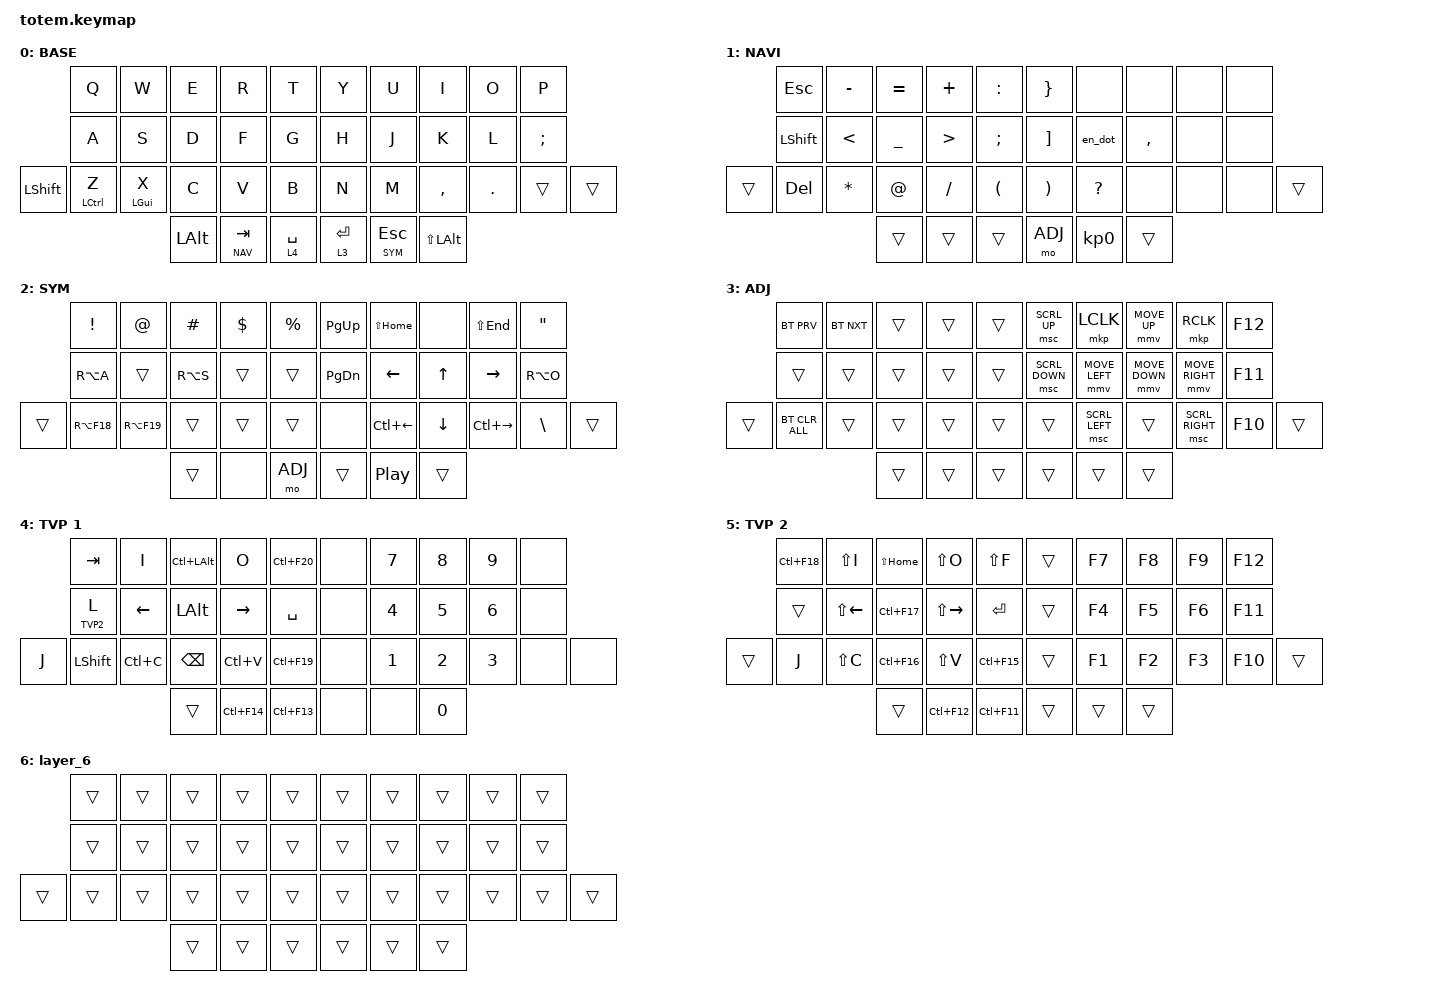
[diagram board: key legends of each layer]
//
//                                                        ▀▀▀▀▀     ▀▀▀▀▀          ▀▀█▀▀
//                                                        ▄▀▀▀▄  ▄  ▄▀▀▀▄  ▄  ▄▀▀▀▄  █  ▄▀▀▀▄
//                                                        █   █  █  █   █  █  █   █  █  █   █
//                                                         ▀▀▀   █   ▀▀▀   █   ▀▀▀   ▀   ▀▀▀
//                                                               █      ▄▄▄█▄▄▄    █   █  
//                                                               ▀      █  █  █     █▄█
//                                                             ▀▀▀▀▀    █  █  █      ▀
//                                                                      ▀  ▀  ▀
//
// ▄▄▄▄▄▄▄▄▄▄▄▄▄▄▄▄▄▄▄▄▄▄▄▄▄▄▄▄▄▄▄▄▄▄▄▄▄▄▄▄▄▄▄▄▄▄▄▄▄▄▄▄▄▄▄▄▄▄▄▄▄▄▄▄▄▄▄▄▄▄▄▄▄▄▄▄▄▄▄▄▄▄▄▄▄▄▄▄▄▄▄▄▄▄▄▄▄▄▄▄▄▄▄▄▄▄▄▄▄▄▄▄▄▄▄▄▄▄▄▄▄▄▄▄▄▄▄▄▄▄▄▄▄▄▄▄▄▄▄▄▄▄▄▄▄▄▄▄▄

#include <behaviors.dtsi>
#include <dt-bindings/zmk/bt.h>
#include <dt-bindings/zmk/keys.h>
#include <dt-bindings/zmk/pointing.h>

#define BASE 0
#define NAV  1
#define SYM  2
#define ADJ  3
#define TVP1 4
#define TVP2 5

&mt {
    quick-tap-ms = <100>;
    global-quick-tap;
    flavor = "tap-preferred";
    tapping-term-ms = <170>;
};

/ {
    combos {
        compatible = "zmk,combos";

        combo_esc {
            timeout-ms = <50>;
            key-positions = <0 1>;
            bindings = <&kp ESC>;
        };
        cmben {
            bindings = <&layer_en>;
            key-positions = <3 4>;
            layers = <1>;
        };

        cmbru {
            bindings = <&layer_ru>;
            key-positions = <3 4>;
            layers = <0>;
        };
        bkspc {
            bindings = <&kp BACKSPACE>;
            key-positions = <17 18>;
        };

        del {
            bindings = <&kp DELETE>;
            key-positions = <28 29>;
        };

        snglq {
            bindings = <&kp SQT>;
            key-positions = <8 9>;
        };

        tab {
            bindings = <&kp TAB>;
            key-positions = <10 11>;
        };

        x {
            bindings = <&kp LEFT_BRACKET>;
            key-positions = <24 25>;
        };

        b {
            bindings = <&kp RIGHT_BRACKET>;
            key-positions = <26 27>;
        };

        enter {
            bindings = <&kp ENTER>;
            key-positions = <16 17>;
        };
    };

    macros {
        en_dot: en_dot {
            compatible = "zmk,behavior-macro";
            #binding-cells = <0>;
            bindings = <&kp LS(LEFT_ALT)>, <&macro_wait_time 25>, <&kp DOT>;

            label = "EN_DOT";
        };
    to_ru: to_ru {
            compatible = "zmk,behavior-macro";
            #binding-cells = <0>;
            bindings = <&kp LS(LC(N2))>;
            label = "TO_RU";
        };

        to_en: to_en {
            compatible = "zmk,behavior-macro";
            #binding-cells = <0>;
            bindings = <&kp LS(LC(N1))>;
            label = "TO_EN";
        };

        layer_en: layer_en {
            compatible = "zmk,behavior-macro";
            #binding-cells = <0>;
            bindings = <&to 0 &to_en>;
            label = "LAYER_EN";
        };

        layer_ru: layer_ru {
            compatible = "zmk,behavior-macro";
            #binding-cells = <0>;
            bindings = <&to 1 &to_ru>;
            label = "LAYER_RU";
        };

        en: en {
            compatible = "zmk,behavior-macro-one-param";
            #binding-cells = <1>;
            bindings =
                <&to_en &macro_param_1to1 &kp MACRO_PLACEHOLDER>,
                <&macro_wait_time 10>,
                <&to_ru>,
                <&macro_wait_time 10>;

            label = "EN";
        };
    };

    keymap {
        compatible = "zmk,keymap";

        // ▄▄▄▄▄▄▄▄▄▄▄▄▄▄▄▄▄▄▄▄▄▄▄▄▄▄▄▄▄▄▄▄▄▄▄▄▄▄▄▄▄▄▄▄▄▄▄▄▄▄▄▄▄▄▄▄▄▄▄▄▄▄▄▄▄▄▄▄▄▄▄▄▄▄▄▄▄▄▄▄▄▄▄▄▄▄▄▄▄▄▄▄▄▄▄▄▄▄▄▄▄▄▄▄▄▄▄▄▄▄▄▄▄▄▄▄▄▄▄▄▄▄▄▄▄▄▄▄▄▄▄▄▄▄▄▄▄▄▄▄▄▄▄▄▄▄▄▄▄

        base_layer {
            // ┏━━━━━━━━━━━━━━━━━━━━━━━━━━━━━━━━━━━━━━━┓

            label = "BASE";

            // ┗━━━━━━━━━━━━━━━━━━━━━━━━━━━━━━━━━━━━━━━┛
            //             ┏━━━━━━━━━━━┳━━━━━━━━━━━┳━━━━━━━━━━━┳━━━━━━━━━━━┳━━━━━━━━━━━┓   ┏━━━━━━━━━━━┳━━━━━━━━━━━┳━━━━━━━━━━━┳━━━━━━━━━━━┳━━━━━━━━━━━┓
            //             ┃     Q     ┃     W     ┃     F     ┃     P     ┃     G     ┃   ┃     J     ┃     L     ┃     U     ┃     Y     ┃     ;     ┃
            //             ┣━━━━━━━━━━━╋━━━━━━━━━━━╋━━━━━━━━━━━╋━━━━━━━━━━━╋━━━━━━━━━━━┫   ┣━━━━━━━━━━━╋━━━━━━━━━━━╋━━━━━━━━━━━╋━━━━━━━━━━━╋━━━━━━━━━━━┫
            //             ┃     A     ┃     R     ┃     S     ┃     T     ┃     D     ┃   ┃     H     ┃     N     ┃     E     ┃     I     ┃     O     ┃
            // ┏━━━━━━━━━━━╋━━━━━━━━━━━╋━━━━━━━━━━━╋━━━━━━━━━━━╋━━━━━━━━━━━╋━━━━━━━━━━━┫   ┣━━━━━━━━━━━╋━━━━━━━━━━━╋━━━━━━━━━━━╋━━━━━━━━━━━╋━━━━━━━━━━━╋━━━━━━━━━━━┓
            // ┃     Q     ┃     Z     ┃     X     ┃     C     ┃     V     ┃     B     ┃   ┃     K     ┃     M     ┃     ,     ┃     .     ┃     /     ┃     \     ┃
            // ┗━━━━━━━━━━━┻━━━━━━━━━━━┻━━━━━━━━━━━╋━━━━━━━━━━━╋━━━━━━━━━━━╋━━━━━━━━━━━┫   ┣━━━━━━━━━━━╋━━━━━━━━━━━╋━━━━━━━━━━━╋━━━━━━━━━━━┻━━━━━━━━━━━┻━━━━━━━━━━━┛
            //                                     ┃    DEL    ┃    TAB    ┃    SPC    ┃   ┃   ENTER   ┃           ┃   BSPC    ┃
            //                                     ┗━━━━━━━━━━━┻━━━━━━━━━━━┻━━━━━━━━━━━┛   ┗━━━━━━━━━━━┻━━━━━━━━━━━┻━━━━━━━━━━━┛

            bindings = <
                &kp Q        &kp W           &kp E         &kp R        &kp T          &kp Y        &kp U        &kp I             &kp O    &kp P
                &kp A        &kp S           &kp D         &kp F        &kp G          &kp H        &kp J        &kp K             &kp L    &kp SEMICOLON
&kp LEFT_SHIFT  &mt LCTRL Z  &mt LEFT_GUI X  &kp C         &kp V        &kp B          &kp N        &kp M        &kp COMMA         &kp DOT  &trans         &trans
                                             &kp LEFT_ALT  &lt NAV TAB  &lt 4 SPACE    &lt 3 ENTER  &lt SYM ESC  &kp LS(LEFT_ALT)
            >;
        };

        // ▄▄▄▄▄▄▄▄▄▄▄▄▄▄▄▄▄▄▄▄▄▄▄▄▄▄▄▄▄▄▄▄▄▄▄▄▄▄▄▄▄▄▄▄▄▄▄▄▄▄▄▄▄▄▄▄▄▄▄▄▄▄▄▄▄▄▄▄▄▄▄▄▄▄▄▄▄▄▄▄▄▄▄▄▄▄▄▄▄▄▄▄▄▄▄▄▄▄▄▄▄▄▄▄▄▄▄▄▄▄▄▄▄▄▄▄▄▄▄▄▄▄▄▄▄▄▄▄▄▄▄▄▄▄▄▄▄▄▄▄▄▄▄▄▄▄▄▄▄

        nav_layer {
            // ┏━━━━━━━━━━━━━━━━━━━━━━━━━━━━━━━━━━━━━━━┓

            label = "NAVI";

            // ┗━━━━━━━━━━━━━━━━━━━━━━━━━━━━━━━━━━━━━━━┛
            //             ┏━━━━━━━━━━━┳━━━━━━━━━━━┳━━━━━━━━━━━┳━━━━━━━━━━━┳━━━━━━━━━━━┓   ┏━━━━━━━━━━━┳━━━━━━━━━━━┳━━━━━━━━━━━┳━━━━━━━━━━━┳━━━━━━━━━━━┓
            //             ┃           ┃           ┃     UP    ┃           ┃     {     ┃   ┃     }     ┃     7     ┃     8     ┃     9     ┃     +     ┃
            //             ┣━━━━━━━━━━━╋━━━━━━━━━━━╋━━━━━━━━━━━╋━━━━━━━━━━━╋━━━━━━━━━━━┫   ┣━━━━━━━━━━━╋━━━━━━━━━━━╋━━━━━━━━━━━╋━━━━━━━━━━━╋━━━━━━━━━━━┫
            //             ┃   SHIFT   ┃   LEFT    ┃    DOWN   ┃   RIGHT   ┃     [     ┃   ┃     ]     ┃     4     ┃     5     ┃     6     ┃     -     ┃
            // ┏━━━━━━━━━━━╋━━━━━━━━━━━╋━━━━━━━━━━━╋━━━━━━━━━━━╋━━━━━━━━━━━╋━━━━━━━━━━━┫   ┣━━━━━━━━━━━╋━━━━━━━━━━━╋━━━━━━━━━━━╋━━━━━━━━━━━╋━━━━━━━━━━━╋━━━━━━━━━━━┓
            // ┃           ┃           ┃   P UP    ┃  C LOCK   ┃  P DOWN   ┃     (     ┃   ┃     )     ┃     1     ┃     2     ┃     3     ┃     *     ┃           ┃
            // ┗━━━━━━━━━━━┻━━━━━━━━━━━┻━━━━━━━━━━━╋━━━━━━━━━━━╋━━━━━━━━━━━╋━━━━━━━━━━━┫   ┣━━━━━━━━━━━╋━━━━━━━━━━━╋━━━━━━━━━━━╋━━━━━━━━━━━┻━━━━━━━━━━━┻━━━━━━━━━━━┛
            //                                     ┃           ┃    TAB    ┃    SPC    ┃   ┃    DEL    ┃     0     ┃           ┃
            //                                     ┗━━━━━━━━━━━┻━━━━━━━━━━━┻━━━━━━━━━━━┛   ┗━━━━━━━━━━━┻━━━━━━━━━━━┻━━━━━━━━━━━┛

            bindings = <
        &kp ESC    &kp MINUS      &kp EQUAL       &kp PLUS          &kp COLON    &kp RBRC  &none         &none      &none  &none
        &kp LSHFT  &kp LESS_THAN  &kp UNDERSCORE  &kp GREATER_THAN  &kp SEMI     &kp RBKT  &en_dot       &kp COMMA  &none  &none
&trans  &kp DEL    &kp ASTRK      &kp AT_SIGN     &kp SLASH         &kp LPAR     &kp RPAR  &kp QUESTION  &none      &none  &none  &trans
                                  &trans          &trans            &trans       &mo ADJ   &kp KP_N0     &trans
            >;
        };

        // ▄▄▄▄▄▄▄▄▄▄▄▄▄▄▄▄▄▄▄▄▄▄▄▄▄▄▄▄▄▄▄▄▄▄▄▄▄▄▄▄▄▄▄▄▄▄▄▄▄▄▄▄▄▄▄▄▄▄▄▄▄▄▄▄▄▄▄▄▄▄▄▄▄▄▄▄▄▄▄▄▄▄▄▄▄▄▄▄▄▄▄▄▄▄▄▄▄▄▄▄▄▄▄▄▄▄▄▄▄▄▄▄▄▄▄▄▄▄▄▄▄▄▄▄▄▄▄▄▄▄▄▄▄▄▄▄▄▄▄▄▄▄▄▄▄▄▄▄▄

        sim_layer {
            // ┏━━━━━━━━━━━━━━━━━━━━━━━━━━━━━━━━━━━━━━━┓

            label = "SYM";

            // ┗━━━━━━━━━━━━━━━━━━━━━━━━━━━━━━━━━━━━━━━┛
            //             ┏━━━━━━━━━━━┳━━━━━━━━━━━┳━━━━━━━━━━━┳━━━━━━━━━━━┳━━━━━━━━━━━┓   ┏━━━━━━━━━━━┳━━━━━━━━━━━┳━━━━━━━━━━━┳━━━━━━━━━━━┳━━━━━━━━━━━┓
            //             ┃     !     ┃     @     ┃     #     ┃     $     ┃     %     ┃   ┃     ˆ     ┃     &     ┃     Ü     ┃     '     ┃     "     ┃
            //             ┣━━━━━━━━━━━╋━━━━━━━━━━━╋━━━━━━━━━━━╋━━━━━━━━━━━╋━━━━━━━━━━━┫   ┣━━━━━━━━━━━╋━━━━━━━━━━━╋━━━━━━━━━━━╋━━━━━━━━━━━╋━━━━━━━━━━━┫
            //             ┃     Ä     ┃           ┃    SZ     ┃           ┃           ┃   ┃   MUTE    ┃   YEN     ┃   EURO    ┃  POUND    ┃     Ö     ┃
            // ┏━━━━━━━━━━━╋━━━━━━━━━━━╋━━━━━━━━━━━╋━━━━━━━━━━━╋━━━━━━━━━━━╋━━━━━━━━━━━┫   ┣━━━━━━━━━━━╋━━━━━━━━━━━╋━━━━━━━━━━━╋━━━━━━━━━━━╋━━━━━━━━━━━╋━━━━━━━━━━━┓
            // ┃           ┃  EMAIL1   ┃  EMAIL2   ┃           ┃           ┃           ┃   ┃   VOL-    ┃   VOL+    ┃   LAST    ┃   NEXT    ┃     \     ┃           ┃
            // ┗━━━━━━━━━━━┻━━━━━━━━━━━┻━━━━━━━━━━━╋━━━━━━━━━━━╋━━━━━━━━━━━╋━━━━━━━━━━━┫   ┣━━━━━━━━━━━╋━━━━━━━━━━━╋━━━━━━━━━━━╋━━━━━━━━━━━┻━━━━━━━━━━━┻━━━━━━━━━━━┛
            //                                     ┃           ┃    GIF    ┃    ADJ    ┃   ┃           ┃           ┃           ┃
            //                                     ┗━━━━━━━━━━━┻━━━━━━━━━━━┻━━━━━━━━━━━┛   ┗━━━━━━━━━━━┻━━━━━━━━━━━┻━━━━━━━━━━━┛

            bindings = <
        &kp EXCL     &kp AT       &kp HASH   &kp DLLR  &kp PRCNT    &kp PG_UP      &kp LS(HOME)  &none     &kp LS(END)    &kp DQT
        &kp RA(A)    &trans       &kp RA(S)  &trans    &trans       &kp PAGE_DOWN  &kp LEFT      &kp UP    &kp RIGHT      &kp RA(O)
&trans  &kp RA(F18)  &kp RA(F19)  &trans     &trans    &trans       &none          &kp LC(LEFT)  &kp DOWN  &kp LC(RIGHT)  &kp BSLH   &trans
                                  &trans     &none     &mo ADJ      &trans         &kp C_PP      &trans
            >;
        };

        // ▄▄▄▄▄▄▄▄▄▄▄▄▄▄▄▄▄▄▄▄▄▄▄▄▄▄▄▄▄▄▄▄▄▄▄▄▄▄▄▄▄▄▄▄▄▄▄▄▄▄▄▄▄▄▄▄▄▄▄▄▄▄▄▄▄▄▄▄▄▄▄▄▄▄▄▄▄▄▄▄▄▄▄▄▄▄▄▄▄▄▄▄▄▄▄▄▄▄▄▄▄▄▄▄▄▄▄▄▄▄▄▄▄▄▄▄▄▄▄▄▄▄▄▄▄▄▄▄▄▄▄▄▄▄▄▄▄▄▄▄▄▄▄▄▄▄▄▄▄

        adjust_layer {
            // ┏━━━━━━━━━━━━━━━━━━━━━━━━━━━━━━━━━━━━━━━┓

            label = "ADJ";

            // ┗━━━━━━━━━━━━━━━━━━━━━━━━━━━━━━━━━━━━━━━┛
            //             ┏━━━━━━━━━━━┳━━━━━━━━━━━┳━━━━━━━━━━━┳━━━━━━━━━━━┳━━━━━━━━━━━┓   ┏━━━━━━━━━━━┳━━━━━━━━━━━┳━━━━━━━━━━━┳━━━━━━━━━━━┳━━━━━━━━━━━┓
            //             ┃   RESET   ┃ BT CLEAR  ┃  OUT TOG  ┃           ┃           ┃   ┃           ┃    F7     ┃    F8     ┃    F9     ┃    F12    ┃
            //             ┣━━━━━━━━━━━╋━━━━━━━━━━━╋━━━━━━━━━━━╋━━━━━━━━━━━╋━━━━━━━━━━━┫   ┣━━━━━━━━━━━╋━━━━━━━━━━━╋━━━━━━━━━━━╋━━━━━━━━━━━╋━━━━━━━━━━━┫
            //             ┃ BOOTLOAD  ┃ BT NEXT   ┃           ┃           ┃           ┃   ┃           ┃    F4     ┃    F5     ┃    F6     ┃    F11    ┃
            // ┏━━━━━━━━━━━╋━━━━━━━━━━━╋━━━━━━━━━━━╋━━━━━━━━━━━╋━━━━━━━━━━━╋━━━━━━━━━━━┫   ┣━━━━━━━━━━━╋━━━━━━━━━━━╋━━━━━━━━━━━╋━━━━━━━━━━━╋━━━━━━━━━━━╋━━━━━━━━━━━┓
            // ┃           ┃           ┃ BT PREV   ┃           ┃           ┃           ┃   ┃           ┃    F1     ┃    F2     ┃    F3     ┃    F10    ┃           ┃
            // ┗━━━━━━━━━━━┻━━━━━━━━━━━┻━━━━━━━━━━━╋━━━━━━━━━━━╋━━━━━━━━━━━╋━━━━━━━━━━━┫   ┣━━━━━━━━━━━╋━━━━━━━━━━━╋━━━━━━━━━━━╋━━━━━━━━━━━┻━━━━━━━━━━━┻━━━━━━━━━━━┛
            //                                     ┃           ┃           ┃           ┃   ┃           ┃           ┃           ┃
            //                                     ┗━━━━━━━━━━━┻━━━━━━━━━━━┻━━━━━━━━━━━┛   ┗━━━━━━━━━━━┻━━━━━━━━━━━┻━━━━━━━━━━━┛

            bindings = <
        &bt BT_PRV      &bt BT_NXT  &trans  &trans  &trans    &msc SCRL_UP    &mkp LCLK       &mmv MOVE_UP    &mkp RCLK        &kp F12
        &trans          &trans      &trans  &trans  &trans    &msc SCRL_DOWN  &mmv MOVE_LEFT  &mmv MOVE_DOWN  &mmv MOVE_RIGHT  &kp F11
&trans  &bt BT_CLR_ALL  &trans      &trans  &trans  &trans    &trans          &msc SCRL_LEFT  &trans          &msc SCRL_RIGHT  &kp F10  &trans
                                    &trans  &trans  &trans    &trans          &trans          &trans
            >;
        };

        // ▄▄▄▄▄▄▄▄▄▄▄▄▄▄▄▄▄▄▄▄▄▄▄▄▄▄▄▄▄▄▄▄▄▄▄▄▄▄▄▄▄▄▄▄▄▄▄▄▄▄▄▄▄▄▄▄▄▄▄▄▄▄▄▄▄▄▄▄▄▄▄▄▄▄▄▄▄▄▄▄▄▄▄▄▄▄▄▄▄▄▄▄▄▄▄▄▄▄▄▄▄▄▄▄▄▄▄▄▄▄▄▄▄▄▄▄▄▄▄▄▄▄▄▄▄▄▄▄▄▄▄▄▄▄▄▄▄▄▄▄▄▄▄▄▄▄▄▄▄

        tvp1_layer {
            // ┏━━━━━━━━━━━━━━━━━━━━━━━━━━━━━━━━━━━━━━━┓

            label = "TVP 1";

            // ┗━━━━━━━━━━━━━━━━━━━━━━━━━━━━━━━━━━━━━━━┛
            //             ┏━━━━━━━━━━━┳━━━━━━━━━━━┳━━━━━━━━━━━┳━━━━━━━━━━━┳━━━━━━━━━━━┓   ┏━━━━━━━━━━━┳━━━━━━━━━━━┳━━━━━━━━━━━┳━━━━━━━━━━━┳━━━━━━━━━━━┓
            //             ┃ NEXT FILE ┃ MARK IN   ┃ ROTATE    ┃ MARK OUT  ┃ SHOW SNAP ┃   ┃           ┃           ┃           ┃           ┃           ┃
            //             ┣━━━━━━━━━━━╋━━━━━━━━━━━╋━━━━━━━━━━━╋━━━━━━━━━━━╋━━━━━━━━━━━┫   ┣━━━━━━━━━━━╋━━━━━━━━━━━╋━━━━━━━━━━━╋━━━━━━━━━━━╋━━━━━━━━━━━┫
            //             ┃ TVP II    ┃ LEFT      ┃ PAN       ┃ RIGHT     ┃ PLAY/FLIP ┃   ┃           ┃           ┃           ┃           ┃           ┃
            // ┏━━━━━━━━━━━╋━━━━━━━━━━━╋━━━━━━━━━━━╋━━━━━━━━━━━╋━━━━━━━━━━━╋━━━━━━━━━━━┫   ┣━━━━━━━━━━━╋━━━━━━━━━━━╋━━━━━━━━━━━╋━━━━━━━━━━━╋━━━━━━━━━━━╋━━━━━━━━━━━┓
            // ┃ FULLSCR   ┃ SHIFT     ┃ COPY      ┃ DELETE    ┃ PASTE     ┃ IMG MARK  ┃   ┃           ┃           ┃           ┃           ┃           ┃           ┃
            // ┗━━━━━━━━━━━┻━━━━━━━━━━━┻━━━━━━━━━━━╋━━━━━━━━━━━╋━━━━━━━━━━━╋━━━━━━━━━━━┫   ┣━━━━━━━━━━━╋━━━━━━━━━━━╋━━━━━━━━━━━╋━━━━━━━━━━━┻━━━━━━━━━━━┻━━━━━━━━━━━┛
            //                                     ┃           ┃ UNDO/SAVE ┃  SEL/MOV  ┃   ┃           ┃           ┃           ┃
            //                                     ┗━━━━━━━━━━━┻━━━━━━━━━━━┻━━━━━━━━━━━┛   ┗━━━━━━━━━━━┻━━━━━━━━━━━┻━━━━━━━━━━━┛

            bindings = <
       &kp TAB     &kp I      &kp LC(LALT)  &kp O        &kp LC(F20)    &none  &kp N7        &kp N8        &kp N9        &none
       &lt TVP2 L  &kp LEFT   &kp LALT      &kp RIGHT    &kp SPACE      &none  &kp NUMBER_4  &kp N5        &kp NUMBER_6  &none
&kp J  &kp LSHFT   &kp LC(C)  &kp BSPC      &kp LC(V)    &kp LC(F19)    &none  &kp NUMBER_1  &kp NUMBER_2  &kp NUMBER_3  &none  &none
                              &trans        &kp LC(F14)  &kp LC(F13)    &none  &none         &kp N0
            >;
        };

        // ▄▄▄▄▄▄▄▄▄▄▄▄▄▄▄▄▄▄▄▄▄▄▄▄▄▄▄▄▄▄▄▄▄▄▄▄▄▄▄▄▄▄▄▄▄▄▄▄▄▄▄▄▄▄▄▄▄▄▄▄▄▄▄▄▄▄▄▄▄▄▄▄▄▄▄▄▄▄▄▄▄▄▄▄▄▄▄▄▄▄▄▄▄▄▄▄▄▄▄▄▄▄▄▄▄▄▄▄▄▄▄▄▄▄▄▄▄▄▄▄▄▄▄▄▄▄▄▄▄▄▄▄▄▄▄▄▄▄▄▄▄▄▄▄▄▄▄▄▄

        tvp2_layer {
            // ┏━━━━━━━━━━━━━━━━━━━━━━━━━━━━━━━━━━━━━━━┓

            label = "TVP 2";

            // ┗━━━━━━━━━━━━━━━━━━━━━━━━━━━━━━━━━━━━━━━┛
            //             ┏━━━━━━━━━━━┳━━━━━━━━━━━┳━━━━━━━━━━━┳━━━━━━━━━━━┳━━━━━━━━━━━┓   ┏━━━━━━━━━━━┳━━━━━━━━━━━┳━━━━━━━━━━━┳━━━━━━━━━━━┳━━━━━━━━━━━┓
            //             ┃ SOLO      ┃ TOGGLE IN ┃ RESET ROT ┃ TOGGLE OUT┃ TAKE SNAP ┃   ┃           ┃           ┃           ┃           ┃           ┃
            //             ┣━━━━━━━━━━━╋━━━━━━━━━━━╋━━━━━━━━━━━╋━━━━━━━━━━━╋━━━━━━━━━━━┫   ┣━━━━━━━━━━━╋━━━━━━━━━━━╋━━━━━━━━━━━╋━━━━━━━━━━━╋━━━━━━━━━━━┫
            //             ┃ ---       ┃ LAST KEY  ┃ NEW KEY   ┃ NEXT KEY  ┃ ENTER     ┃   ┃           ┃           ┃           ┃           ┃           ┃
            // ┏━━━━━━━━━━━╋━━━━━━━━━━━╋━━━━━━━━━━━╋━━━━━━━━━━━╋━━━━━━━━━━━╋━━━━━━━━━━━┫   ┣━━━━━━━━━━━╋━━━━━━━━━━━╋━━━━━━━━━━━╋━━━━━━━━━━━╋━━━━━━━━━━━╋━━━━━━━━━━━┓
            // ┃           ┃ FULLSCR   ┃ CPY2BRUSH ┃ DEL HEAD  ┃ PSTinPLACE┃ BOOK MARK ┃   ┃           ┃           ┃           ┃           ┃           ┃           ┃
            // ┗━━━━━━━━━━━┻━━━━━━━━━━━┻━━━━━━━━━━━╋━━━━━━━━━━━╋━━━━━━━━━━━╋━━━━━━━━━━━┫   ┣━━━━━━━━━━━╋━━━━━━━━━━━╋━━━━━━━━━━━╋━━━━━━━━━━━┻━━━━━━━━━━━┻━━━━━━━━━━━┛
            //                                     ┃           ┃ REDO/SAV1 ┃TRANS/WARP ┃   ┃           ┃           ┃           ┃
            //                                     ┗━━━━━━━━━━━┻━━━━━━━━━━━┻━━━━━━━━━━━┛   ┗━━━━━━━━━━━┻━━━━━━━━━━━┻━━━━━━━━━━━┛

            bindings = <
        &kp LC(F18)  &kp LS(I)     &kp LS(HOME)  &kp LS(O)      &kp LS(F)      &trans  &kp F7  &kp F8  &kp F9  &kp F12
        &trans       &kp LS(LEFT)  &kp LC(F17)   &kp LS(RIGHT)  &kp RET        &trans  &kp F4  &kp F5  &kp F6  &kp F11
&trans  &kp J        &kp LS(C)     &kp LC(F16)   &kp LS(V)      &kp LC(F15)    &trans  &kp F1  &kp F2  &kp F3  &kp F10  &trans
                                   &trans        &kp LC(F12)    &kp LC(F11)    &trans  &trans  &trans
            >;
        };

        layer_6 {
            bindings = <
        &trans  &trans  &trans  &trans  &trans    &trans  &trans  &trans  &trans  &trans
        &trans  &trans  &trans  &trans  &trans    &trans  &trans  &trans  &trans  &trans
&trans  &trans  &trans  &trans  &trans  &trans    &trans  &trans  &trans  &trans  &trans  &trans
                        &trans  &trans  &trans    &trans  &trans  &trans
            >;
        };
    };
};
